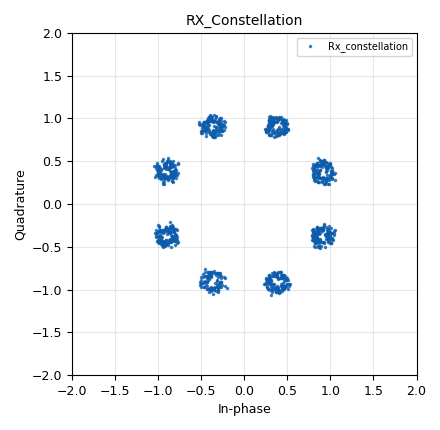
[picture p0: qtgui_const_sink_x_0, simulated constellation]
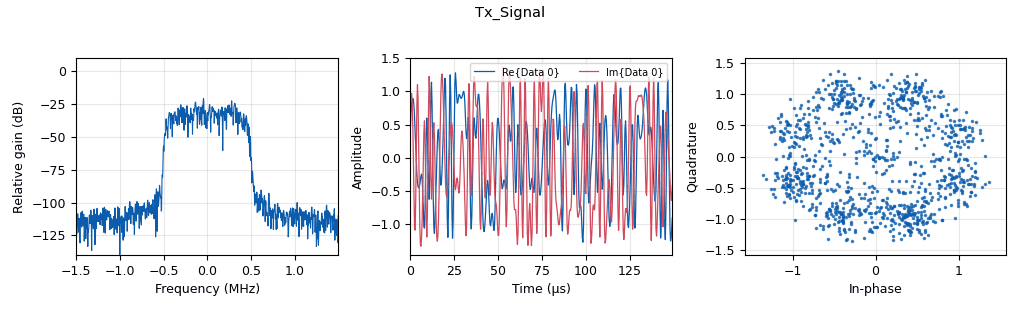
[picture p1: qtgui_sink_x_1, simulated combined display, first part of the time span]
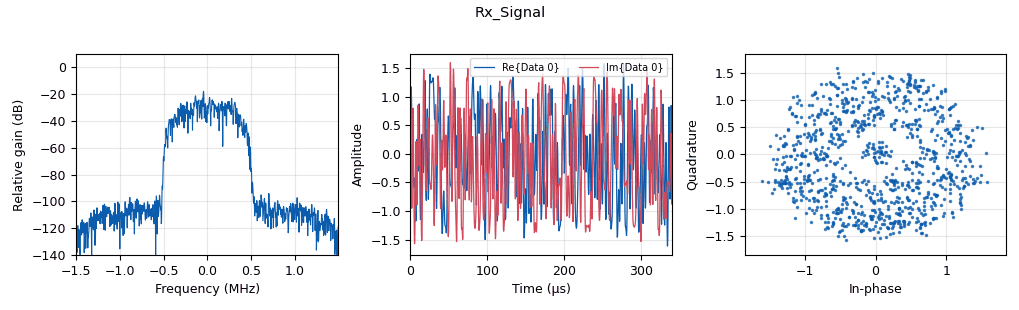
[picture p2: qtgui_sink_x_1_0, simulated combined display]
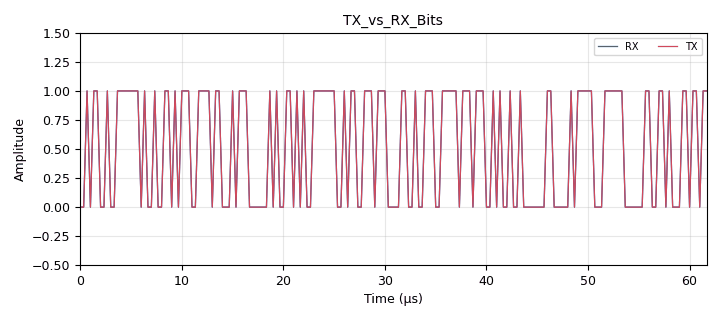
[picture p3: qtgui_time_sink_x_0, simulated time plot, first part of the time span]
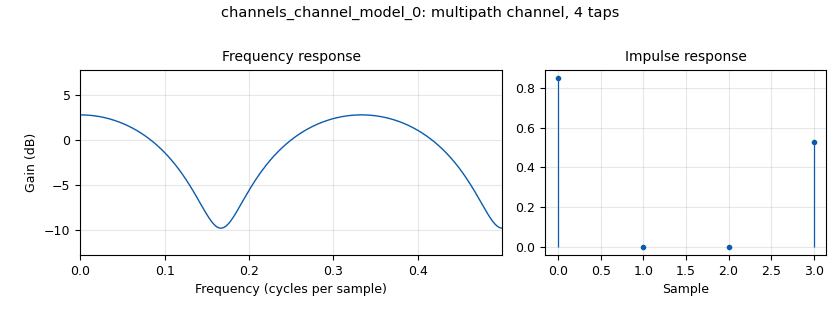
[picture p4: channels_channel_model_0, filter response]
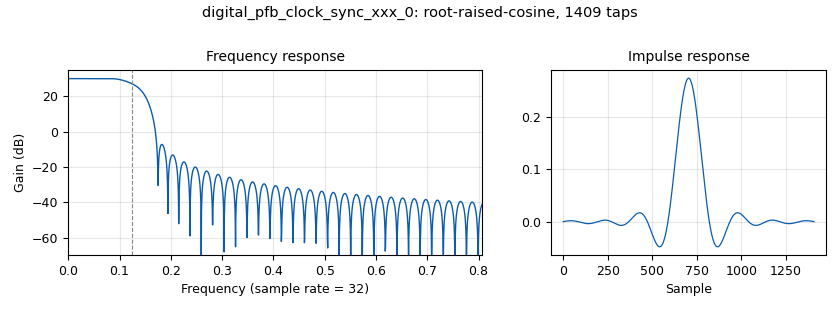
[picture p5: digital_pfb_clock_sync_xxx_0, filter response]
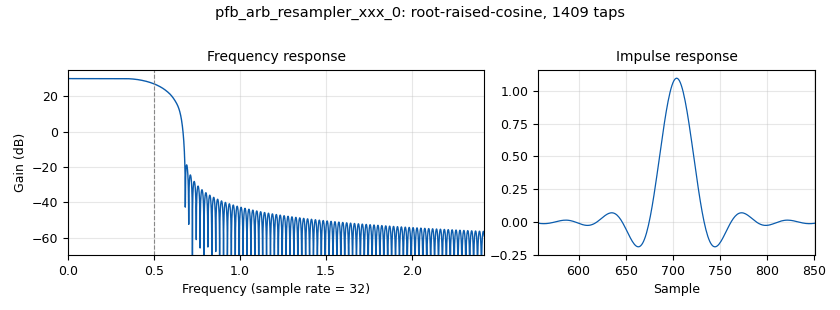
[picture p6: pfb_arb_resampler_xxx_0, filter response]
options:
  parameters:
    generate_options: qt_gui
    id: t1
    output_language: python
    title: PSK8_software_simplex
  states: {}

blocks:
- name: a
  id: variable
  parameters:
    value: '0.92388'
  states: {}
- name: arity
  id: variable
  parameters:
    value: '8'
  states: {}
- name: b
  id: variable
  parameters:
    value: '0.38268'
  states: {}
- name: d
  id: variable
  parameters:
    value: 1/(2**(1/2))
  states: {}
- name: delay
  id: variable_qtgui_range
  parameters:
    gui_hint: 'controls@0: 0,1,1,1'
    label: Delay
    orient: Qt.Horizontal
    rangeType: int
    start: '0'
    step: '1'
    stop: '200'
    value: '87'
  states: {}
- name: eq_gain
  id: variable_qtgui_range
  parameters:
    gui_hint: 'controls@1: 1,0,1,1'
    label: 'Equalizer: rate'
    orient: Qt.Horizontal
    start: '0.0'
    step: '0.0001'
    stop: '0.001'
    value: '0.0001'
  states: {}
- name: excess_bw
  id: variable
  parameters:
    value: '0.35'
  states: {}
- name: freq
  id: variable
  parameters:
    value: 1e9
  states: {}
- name: freq_offset
  id: variable_qtgui_range
  parameters:
    gui_hint: 'controls@0: 1,1,1,1'
    label: Frequency Offset
    orient: Qt.Horizontal
    start: '-0.1'
    step: '0.001'
    stop: '0.1'
    value: '0'
  states: {}
- name: gain_rx
  id: variable_qtgui_range
  parameters:
    gui_hint: 'controls@1: 0,0,1,1'
    label: gain_rx
    orient: Qt.Horizontal
    start: '0'
    step: '1'
    stop: '74'
    value: '30'
  states: {}
- name: gain_tx
  id: variable_qtgui_range
  parameters:
    gui_hint: 'controls@0: 0,0,1,1'
    label: gain_tx
    orient: Qt.Horizontal
    start: '0'
    step: '1'
    stop: '74'
    value: '30'
  states: {}
- name: nfilts
  id: variable
  parameters:
    value: '32'
  states: {}
- name: noise_volt
  id: variable_qtgui_range
  parameters:
    gui_hint: 'controls@0: 1,0,1,1'
    label: Noise Voltage
    orient: Qt.Vertical
    start: '0'
    step: '0.01'
    stop: '2'
    value: '0'
  states: {}
- name: phase_bw
  id: variable_qtgui_range
  parameters:
    gui_hint: 'controls@1: 1,1,1,1'
    label: 'Phase: Bandwidth'
    orient: Qt.Horizontal
    start: '0.0'
    step: '0.01'
    stop: '0.1'
    value: 6.28/200
  states: {}
- name: psk8_gray_dif
  id: variable_constellation_rect
  parameters:
    const_points: '[a+b*1j,b+a*1j,-b+a*1j,-a+b*1j,-a-b*1j,-b-a*1j,b-a*1j,a-b*1j]'
    imag_sect: '2'
    real_sect: '2'
    rot_sym: '4'
    sym_map: '[0, 1, 2, 3,4,5,6,7]'
    w_imag_sect: '1'
    w_real_sect: '1'
  states: {}
- name: psk8_s
  id: variable_constellation_rect
  parameters:
    const_points: '[1+0*1j,d+d*1j,1j,-d+d*1j,-1,-d-d*1j,-1j,d-d*1j]'
    imag_sect: '2'
    real_sect: '2'
    rot_sym: '4'
    sym_map: '[0, 1, 2, 3,4,5,6,7]'
    w_imag_sect: '1'
    w_real_sect: '1'
  states: {}
- name: rrc_taps
  id: variable
  parameters:
    value: firdes.root_raised_cosine(nfilts, nfilts, 1.0/float(sps), excess_bw, 11*sps*nfilts)
  states: {}
- name: rrc_taps_tx
  id: variable
  parameters:
    value: firdes.root_raised_cosine(nfilts, nfilts, 1.0, excess_bw, 11*sps*nfilts)
  states: {}
- name: samp_rate
  id: variable
  parameters:
    value: 500e3*6
  states: {}
- name: sps
  id: variable
  parameters:
    value: '4'
  states: {}
- name: taps
  id: variable
  parameters:
    value: '[0.85,0,0,0.526]'
  states: {}
- name: timing_loop_bw
  id: variable_qtgui_range
  parameters:
    gui_hint: 'controls@1: 0,1,1,1'
    label: timing_loop_bw
    orient: Qt.Horizontal
    start: '0.0'
    step: '0.001'
    stop: '0.1'
    value: 6.28/200
  states: {}
- name: analog_random_source_x_0
  id: analog_random_source_x
  parameters:
    max: '256'
    min: '0'
    num_samps: '10000000'
    repeat: 'True'
    type: byte
  states: {}
- name: blocks_char_to_float_0_0
  id: blocks_char_to_float
  parameters:
    scale: '1'
  states: {}
- name: blocks_char_to_float_0_0_0
  id: blocks_char_to_float
  parameters:
    scale: '1'
  states: {}
- name: blocks_complex_to_mag_squared_0
  id: blocks_complex_to_mag_squared
  parameters: {}
  states: {}
- name: blocks_delay_0
  id: blocks_delay
  parameters:
    delay: delay
    type: byte
  states: {}
- name: blocks_moving_average_xx_0
  id: blocks_moving_average_xx
  parameters:
    length: '10000'
    max_iter: '4000'
    scale: '0.0001'
    type: float
  states: {}
- name: blocks_packed_to_unpacked_xx_0
  id: blocks_packed_to_unpacked_xx
  parameters:
    bits_per_chunk: '3'
    endianness: gr.GR_MSB_FIRST
    type: byte
  states: {}
- name: blocks_throttle_0
  id: blocks_throttle
  parameters:
    samples_per_second: samp_rate
    type: complex
  states: {}
- name: blocks_unpack_k_bits_bb_0
  id: blocks_unpack_k_bits_bb
  parameters:
    k: '3'
  states: {}
- name: blocks_unpack_k_bits_bb_0_0
  id: blocks_unpack_k_bits_bb
  parameters:
    k: '8'
  states: {}
- name: channels_channel_model_0
  id: channels_channel_model
  parameters:
    epsilon: '1'
    freq_offset: freq_offset
    noise_voltage: noise_volt
    seed: '0'
    taps: taps
  states: {}
- name: controls
  id: qtgui_tab_widget
  parameters:
    gui_hint: 0,0,1,2
    label0: TX
    label1: RX
    num_tabs: '2'
  states: {}
- name: digital_chunks_to_symbols_xx_0
  id: digital_chunks_to_symbols_xx
  parameters:
    dimension: '1'
    in_type: byte
    out_type: complex
    symbol_table: digital.constellation_8psk().points()
  states: {}
- name: digital_cma_equalizer_cc_0
  id: digital_cma_equalizer_cc
  parameters:
    modulus: '1'
    mu: '0.0002'
    num_taps: '15'
    sps: '2'
  states: {}
- name: digital_constellation_decoder_cb_0
  id: digital_constellation_decoder_cb
  parameters:
    constellation: digital.constellation_8psk().base()
  states: {}
- name: digital_costas_loop_cc_0
  id: digital_costas_loop_cc
  parameters:
    order: arity
    w: phase_bw
  states: {}
- name: digital_diff_decoder_bb_0_0
  id: digital_diff_decoder_bb
  parameters:
    modulus: '8'
  states: {}
- name: digital_diff_encoder_bb_0
  id: digital_diff_encoder_bb
  parameters:
    modulus: '8'
  states: {}
- name: digital_lms_dd_equalizer_cc_2
  id: digital_lms_dd_equalizer_cc
  parameters:
    cnst: psk8_gray_dif.base()
    mu: eq_gain
    num_taps: '15'
    sps: '2'
  states: {state: bypassed}
- name: digital_pfb_clock_sync_xxx_0
  id: digital_pfb_clock_sync_xxx
  parameters:
    filter_size: nfilts
    init_phase: nfilts/2
    loop_bw: timing_loop_bw
    max_dev: '1.5'
    osps: '2'
    sps: sps
    taps: rrc_taps
    type: ccf
  states: {}
- name: pfb_arb_resampler_xxx_0
  id: pfb_arb_resampler_xxx
  parameters:
    atten: '100'
    nfilts: nfilts
    rrate: sps
    taps: rrc_taps_tx
    type: ccf
  states: {}
- name: qtgui_const_sink_x_0
  id: qtgui_const_sink_x
  parameters:
    grid: 'True'
    gui_hint: 2,0,1,1
    label1: Rx_constellation
    name: '"RX_Constellation"'
    size: '1024'
    type: complex
  states: {}
- name: qtgui_number_sink_0
  id: qtgui_number_sink
  parameters:
    graph_type: qtgui.NUM_GRAPH_HORIZ
    type: float
  states: {}
- name: qtgui_sink_x_1
  id: qtgui_sink_x
  parameters:
    bw: samp_rate
    fc: '0'
    fftsize: '1024'
    gui_hint: 1,0,1,1
    name: '"Tx_Signal"'
    showports: 'True'
    type: complex
    wintype: firdes.WIN_BLACKMAN_hARRIS
  states: {}
- name: qtgui_sink_x_1_0
  id: qtgui_sink_x
  parameters:
    bw: samp_rate
    fc: '0'
    fftsize: '1024'
    gui_hint: 1,1,1,1
    name: '"Rx_Signal"'
    showports: 'True'
    type: complex
    wintype: firdes.WIN_BLACKMAN_hARRIS
  states: {}
- name: qtgui_time_sink_x_0
  id: qtgui_time_sink_x
  parameters:
    grid: 'True'
    gui_hint: 2,1,1,1
    label1: RX
    label2: TX
    name: '"TX_vs_RX_Bits"'
    nconnections: '2'
    size: '512'
    srate: samp_rate
    type: float
    ymax: '1.5'
    ymin: '-0.5'
  states: {}
- name: virtual_sink_0
  id: virtual_sink
  parameters:
    stream_id: Tx_samples
  states: {}
- name: virtual_source_0
  id: virtual_source
  parameters:
    stream_id: Tx_samples
  states: {}

connections:
- [analog_random_source_x_0, '0', blocks_packed_to_unpacked_xx_0, '0']
- [analog_random_source_x_0, '0', blocks_unpack_k_bits_bb_0_0, '0']
- [blocks_char_to_float_0_0, '0', qtgui_time_sink_x_0, '0']
- [blocks_char_to_float_0_0_0, '0', qtgui_time_sink_x_0, '1']
- [blocks_complex_to_mag_squared_0, '0', blocks_moving_average_xx_0, '0']
- [blocks_delay_0, '0', blocks_char_to_float_0_0_0, '0']
- [blocks_moving_average_xx_0, '0', qtgui_number_sink_0, '0']
- [blocks_packed_to_unpacked_xx_0, '0', digital_diff_encoder_bb_0, '0']
- [blocks_throttle_0, '0', channels_channel_model_0, '0']
- [blocks_unpack_k_bits_bb_0, '0', blocks_char_to_float_0_0, '0']
- [blocks_unpack_k_bits_bb_0_0, '0', blocks_delay_0, '0']
- [channels_channel_model_0, '0', virtual_sink_0, '0']
- [digital_chunks_to_symbols_xx_0, '0', pfb_arb_resampler_xxx_0, '0']
- [digital_cma_equalizer_cc_0, '0', digital_costas_loop_cc_0, '0']
- [digital_constellation_decoder_cb_0, '0', digital_diff_decoder_bb_0_0, '0']
- [digital_costas_loop_cc_0, '0', digital_constellation_decoder_cb_0, '0']
- [digital_costas_loop_cc_0, '0', qtgui_const_sink_x_0, '0']
- [digital_diff_decoder_bb_0_0, '0', blocks_unpack_k_bits_bb_0, '0']
- [digital_diff_encoder_bb_0, '0', digital_chunks_to_symbols_xx_0, '0']
- [digital_lms_dd_equalizer_cc_2, '0', digital_cma_equalizer_cc_0, '0']
- [digital_pfb_clock_sync_xxx_0, '0', digital_lms_dd_equalizer_cc_2, '0']
- [pfb_arb_resampler_xxx_0, '0', blocks_throttle_0, '0']
- [pfb_arb_resampler_xxx_0, '0', qtgui_sink_x_1, '0']
- [virtual_source_0, '0', blocks_complex_to_mag_squared_0, '0']
- [virtual_source_0, '0', digital_pfb_clock_sync_xxx_0, '0']
- [virtual_source_0, '0', qtgui_sink_x_1_0, '0']

metadata:
  file_format: 1
